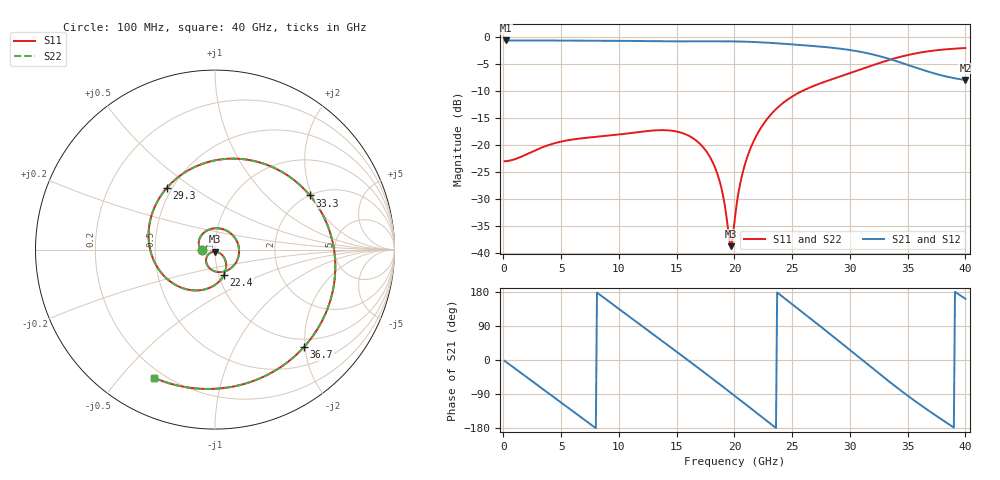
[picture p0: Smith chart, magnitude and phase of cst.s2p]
! A_s4_d300_ap600: L1→L4 through L2/L3, drill Ø0.3, antipad Ø0.6, 4 GND vias at 1 mm
! stackup: 4-layer 1.6 mm FR-4
! ports: 1, 2
! CST Studio Suite 2025.5 Release from 2025-05-30, time domain (FIT, hexahedral, PBA), 136400 mesh cells, 29 s
! mesh: {'lpw': 20, 'lpb': 20, 'minstep': 0.0, 'ratio': 20}; ports: port 1 (face); port 2 (face)
! interpolated from CST's 1001 samples to the case grid
# Hz S RI R 50
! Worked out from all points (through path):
!   400 points, 100 MHz to 40 GHz, reference 50 ohm
!   highest |S21| = -0.64 dB at 200 MHz (marker M1); lowest = -8.0 dB at 40 GHz (marker M2)
!   group delay of S21, straight-line fit = 64.7 ps
!   lowest |S11| = -38.7 dB at 19.7 GHz (marker M3), VSWR 1.02, Z = 50 - j1.16 ohm
!   |S11| at or under -10 dB: start of sweep to 25.87 GHz
!   |S22| runs from -38.7 to -2.0 dB; largest |S21 - S12| = 3.6e-07
!   S11 on the Smith chart (normalised r, x): 100 MHz: 0.87, +0.00; 22.4 GHz: 1.06, -0.31; 29.3 GHz: 0.47, +0.40; 33.3 GHz: 2.01, +1.93; 36.7 GHz: 0.84, -1.98; 40 GHz: 0.16, -0.62
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1e8  -0.0708 6.53e-05  0.9283 -0.0364  0.9283 -0.0364  -0.0708 6.53e-05
2e8  -0.0709 0.000136  0.9262 -0.0727  0.9262 -0.0727  -0.0709 0.000136
3.6e9  -0.0906 0.0356  0.1473 -0.9163  0.1473 -0.9163  -0.0906 0.0356
5.1e9  -0.0806 0.0722  -0.3858 -0.8431  -0.3858 -0.8431  -0.0806 0.0722
6.8e9  -0.0416 0.1077  -0.824 -0.4224  -0.824 -0.4224  -0.0416 0.1078
8.6e9  0.024 0.1182  -0.8987 0.2151  -0.8987 0.2151  0.024 0.1182
1.06e10  0.1015 0.077  -0.4785 0.7864  -0.4785 0.7864  0.1015 0.077
1.34e10  0.1219 -0.0627  0.4851 0.7744  0.4851 0.7744  0.1219 -0.0627
1.64e10  -0.0154 -0.1148  0.8972 -0.1623  0.8972 -0.1623  -0.0154 -0.1148
1.85e10  -0.0429 -0.0344  0.4733 -0.7809  0.4733 -0.7809  -0.0429 -0.0344
1.97e10  0.000112 -0.0116  0.0489 -0.91  0.0489 -0.91  0.000111 -0.0116
2.01e10  0.0183 -0.0156  -0.1008 -0.9043  -0.1008 -0.9043  0.0183 -0.0156
2.1e10  0.0525 -0.048  -0.4203 -0.8012  -0.4203 -0.8012  0.0525 -0.048
2.24e10  0.0494 -0.1418  -0.7792 -0.4326  -0.7792 -0.4326  0.0494 -0.1418
2.44e10  -0.1128 -0.2276  -0.8189 0.2742  -0.8189 0.2742  -0.1128 -0.2276
2.67e10  -0.3414 -0.06  -0.2373 0.7923  -0.2373 0.7923  -0.3414 -0.06
2.93e10  -0.2669 0.3454  0.5624 0.5352  0.5624 0.5352  -0.2669 0.3454
3.12e10  0.0803 0.5066  0.7181 -0.0413  0.7181 -0.0413  0.0804 0.5066
3.33e10  0.5285 0.3015  0.3668 -0.5142  0.3668 -0.5142  0.5286 0.3015
3.34e10  0.5447 0.2813  0.3426 -0.5252  0.3426 -0.5252  0.5448 0.2812
3.67e10  0.4955 -0.5428  -0.3168 -0.362  -0.3168 -0.362  0.4954 -0.5429
4e10  -0.3382 -0.7149  -0.3792 0.1269  -0.3792 0.1269  -0.3382 -0.7148
